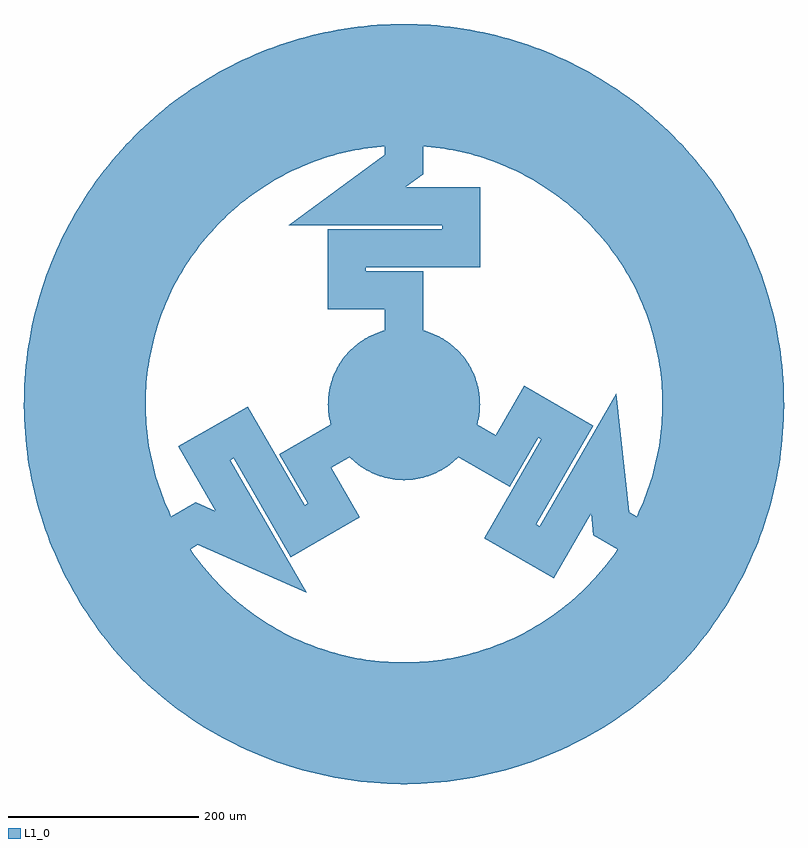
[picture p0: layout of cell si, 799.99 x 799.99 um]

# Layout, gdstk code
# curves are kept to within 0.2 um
import gdstk
lib = gdstk.Library(unit=1e-6, precision=1e-09)
def P(c, l, *ps):  # polygons
    for p in ps: c.add(gdstk.Polygon(p, *l))
L1_0 = (1, 0)

c_si = lib.new_cell('si')
P(c_si, L1_0, [(-0.7,-79.997),(-7.689,-79.63),(-15.993,-78.385),(-24.121,-76.277),(-30.696,-73.877),(-37.035,-70.911),(-44.264,-66.639),(-51.005,-61.632),(-57.184,-55.946),(-61.855,-50.735),(-66.832,-43.972),(-71.073,-36.724),(-74.531,-29.072),(-77.167,-21.1),(-78.716,-14.275),(-79.663,-7.34),(-79.993,1.05),(-79.595,8.037),(-78.314,16.336),(-76.171,24.455),(-73.188,32.304),(-69.398,39.798),(-65.655,45.711),(-60.502,52.341),(-55.696,57.428),(-49.369,62.95),(-43.679,67.024),(-37.654,70.585),(-30.048,74.143),(-22.111,76.884),(-13.93,78.778),(-6.992,79.694),(1.4,79.988),(9.777,79.4),(16.679,78.242),(24.788,76.063),(32.624,73.046),(40.101,69.224),(45.998,65.454),(52.605,60.272),(57.671,55.444),(63.165,49.093),(67.214,43.385),(71.391,36.101),(74.782,28.419),(76.98,21.774),(78.838,13.585),(79.724,6.643),(79.981,-1.75),(79.357,-10.124),(78.168,-17.021),(75.954,-25.121),(73.468,-31.663),(69.744,-39.189),(66.052,-45.134),(61.855,-50.735),(56.196,-56.939),(51.005,-61.632),(44.264,-66.639),(37.035,-70.911),(30.696,-73.877),(22.783,-76.687),(14.619,-78.653),(7.689,-79.63)],
  [(-3.5,-399.985),(-24.487,-399.25),(-45.407,-397.414),(-66.201,-394.484),(-86.813,-390.466),(-107.186,-385.372),(-127.263,-379.215),(-146.989,-372.014),(-159.919,-366.642),(-178.94,-357.744),(-197.469,-347.859),(-215.453,-337.017),(-227.115,-329.27),(-244.083,-316.897),(-255.024,-308.161),(-270.845,-294.352),(-285.92,-279.732),(-300.206,-264.341),(-309.274,-253.673),(-322.161,-237.092),(-334.159,-219.858),(-345.237,-202.018),(-355.364,-183.621),(-364.511,-164.717),(-370.052,-151.86),(-377.512,-132.23),(-383.931,-112.235),(-389.293,-91.931),(-393.581,-71.374),(-395.838,-57.556),(-398.313,-36.702),(-399.69,-15.748),(-399.966,5.25),(-399.139,26.234),(-397.212,47.145),(-395.319,61.018),(-391.572,81.68),(-388.473,95.334),(-382.935,115.59),(-378.655,128.921),(-371.367,148.616),(-363.056,167.901),(-356.957,180.504),(-346.992,198.989),(-339.816,211.01),(-332.223,222.774),(-320.073,239.902),(-307.042,256.369),(-293.283,272),(0,272),(-19.027,271.334),(-33.24,269.961),(-47.363,267.845),(-65.982,263.876),(-84.279,258.614),(-97.735,253.834),(-115.252,246.376),(-128.023,239.988),(-144.497,230.445),(-156.392,222.544),(-171.576,211.059),(-182.416,201.763),(-192.753,191.912),(-205.706,177.959),(-214.762,166.918),(-225.911,151.486),(-235.955,135.312),(-242.731,122.743),(-250.722,105.463),(-255.912,92.159),(-261.731,74.032),(-265.256,60.194),(-268.817,41.492),(-270.624,27.327),(-271.685,13.086),(-271.935,-5.95),(-270.853,-24.958),(-269.17,-39.138),(-266.745,-53.21),(-262.369,-71.739),(-256.708,-89.916),(-251.635,-103.265),(-243.796,-120.614),(-237.13,-133.242),(-229.81,-145.504),(-219.069,-161.223),(-207.255,-176.152),(-197.725,-186.786),(-184.174,-200.159),(-173.416,-209.549),(-162.18,-218.362),(-146.508,-229.171),(-134.279,-236.544),(-117.403,-245.358),(-104.365,-251.181),(-86.539,-257.866),(-72.886,-262.053),(-54.377,-266.509),(-40.315,-268.996),(-21.4,-271.157),(-2.38,-271.99),(11.898,-271.74),(30.877,-270.242),(45.017,-268.249),(59.033,-265.517),(77.461,-260.737),(95.51,-254.68),(108.745,-249.316),(121.679,-243.266),(138.398,-234.158),(154.438,-223.904),(165.976,-215.49),(177.057,-206.482),(191.067,-193.591),(197.725,-186.786),(207.255,-176.152),(216.214,-165.032),(224.577,-153.457),(232.321,-141.459),(239.425,-129.072),(245.869,-116.329),(251.635,-103.265),(255.095,-94.395),(259.698,-80.877),(263.584,-67.136),(266.745,-53.21),(269.17,-39.138),(270.853,-24.958),(271.789,-10.708),(271.977,3.57),(271.685,13.086),(270.624,27.327),(268.817,41.492),(266.269,55.543),(262.987,69.44),(258.98,83.147),(255.912,92.159),(250.722,105.463),(244.842,118.476),(238.287,131.162),(231.075,143.487),(223.226,155.416),(214.762,166.918),(205.706,177.959),(199.352,185.049),(189.365,195.256),(178.857,204.925),(171.576,211.059),(156.392,222.544),(140.442,232.938),(128.023,239.988),(119.546,244.321),(102.163,252.085),(84.279,258.614),(65.982,263.876),(52.043,266.975),(42.668,268.633),(23.772,270.959),(4.76,271.958),(-293.283,272),(-278.478,287.141),(-263.025,301.36),(-246.846,314.749),(-229.988,327.27),(-212.495,338.889),(-194.417,349.574),(-175.803,359.296),(-156.704,368.027),(-137.173,375.744),(-117.265,382.425),(-97.033,388.052),(-76.534,392.61),(-55.823,396.086),(-34.959,398.469),(-13.999,399.755),(7,399.939),(20.993,399.449),(41.927,397.797),(62.747,395.048),(83.393,391.21),(103.809,386.295),(117.265,382.425),(137.173,375.744),(156.704,368.027),(175.803,359.296),(194.417,349.574),(212.495,338.889),(229.988,327.27),(246.846,314.749),(263.025,301.36),(273.41,291.971),(288.357,277.219),(297.882,266.958),(311.482,250.957),(324.223,234.264),(336.071,216.925),(346.992,198.989),(356.957,180.504),(363.056,167.901),(371.367,148.616),(378.655,128.921),(382.935,115.59),(388.473,95.334),(392.941,74.815),(396.326,54.09),(398.619,33.215),(399.537,19.245),(399.996,-1.75),(399.353,-22.74),(397.609,-43.668),(394.77,-64.475),(390.842,-85.104),(385.837,-105.499),(379.768,-125.603),(375.14,-138.816),(367.338,-158.313),(358.523,-177.373),(352.096,-189.812),(341.649,-208.029),(330.261,-225.672),(322.161,-237.092),(309.274,-253.673),(295.534,-269.554),(280.98,-284.693),(265.652,-299.047),(249.591,-312.577),(232.843,-325.245),(215.453,-337.017),(197.469,-347.859),(178.94,-357.744),(159.919,-366.642),(146.989,-372.014),(127.263,-379.215),(107.186,-385.372),(93.633,-388.887),(73.095,-393.265),(52.355,-396.559),(31.471,-398.76),(17.496,-399.617)])
c_si.add(gdstk.FlexPath([(0,0),(0,120),(-60,120),(-60,164),(60,164),(60,208),(-60,208),(-60,208),(0,252),(0,272)], 40, ends="flush", simple_path=True, layer=1, datatype=0))  # L1_0
c_si.add(gdstk.FlexPath([(0,0),(-103.923,-60),(-73.923,-111.962),(-112.028,-133.962),(-172.028,-30.038),(-210.133,-52.038),(-150.133,-155.962),(-150.133,-155.962),(-218.238,-126),(-235.559,-136)], 40, ends="flush", simple_path=True, layer=1, datatype=0))  # L1_0
c_si.add(gdstk.FlexPath([(0,0),(103.923,-60),(133.923,-8.038),(172.028,-30.038),(112.028,-133.962),(150.133,-155.962),(210.133,-52.038),(210.133,-52.038),(218.238,-126),(235.559,-136)], 40, ends="flush", simple_path=True, layer=1, datatype=0))  # L1_0

lib.write_gds('si.gds')
